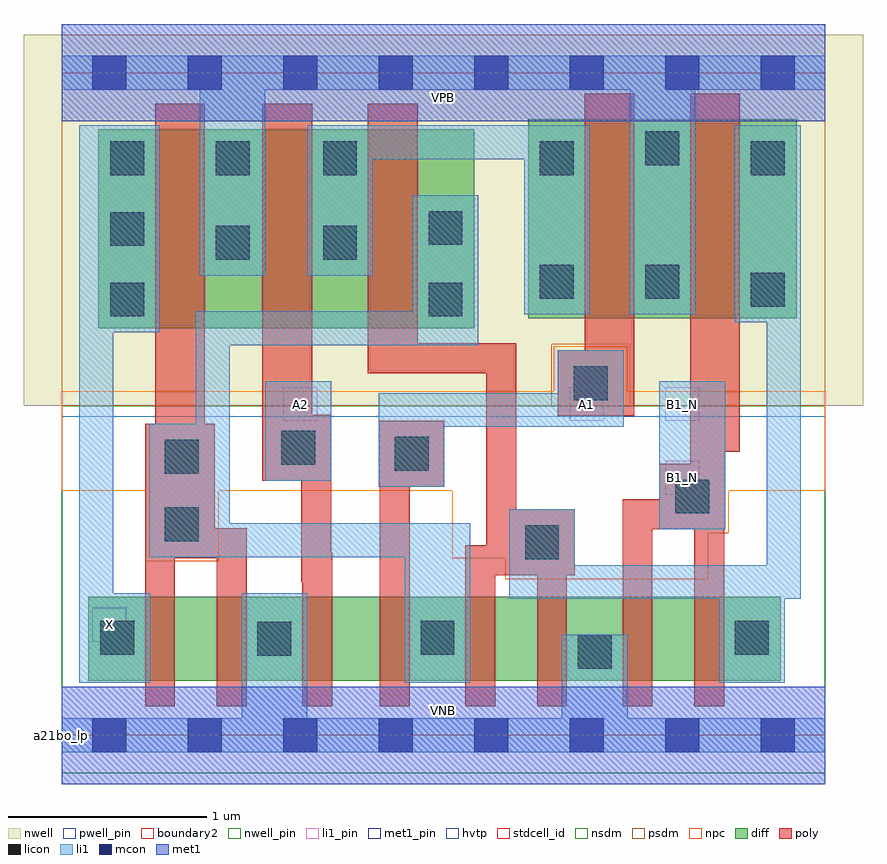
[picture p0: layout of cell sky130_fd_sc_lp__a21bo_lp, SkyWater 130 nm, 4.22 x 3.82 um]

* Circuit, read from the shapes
.subckt sky130_fd_sc_lp__a21bo_lp A1 A2 B1_N VGND VNB VPB VPWR X
XM1 n1 n2 X VNB sky130_fd_pr__nfet_01v8 w=0.42 l=0.15
XM2 VGND n2 n1 VNB sky130_fd_pr__nfet_01v8 w=0.42 l=0.15
XM3 n3 A2 VGND VNB sky130_fd_pr__nfet_01v8 w=0.42 l=0.15
XM4 n2 A1 n3 VNB sky130_fd_pr__nfet_01v8 w=0.42 l=0.15
XM5 n4 n5 n2 VNB sky130_fd_pr__nfet_01v8 w=0.42 l=0.15
XM6 VGND n5 n4 VNB sky130_fd_pr__nfet_01v8 w=0.42 l=0.15
XM7 n6 B1_N VGND VNB sky130_fd_pr__nfet_01v8 w=0.42 l=0.15
XM8 n5 B1_N n6 VNB sky130_fd_pr__nfet_01v8 w=0.42 l=0.15
XM9 VPWR n2 X VPB sky130_fd_pr__pfet_01v8_hvt w=1 l=0.25
XM10 n7 A2 VPWR VPB sky130_fd_pr__pfet_01v8_hvt w=1 l=0.25
XM11 n2 n5 n7 VPB sky130_fd_pr__pfet_01v8_hvt w=1 l=0.25
XM12 VPWR A1 n7 VPB sky130_fd_pr__pfet_01v8_hvt w=1 l=0.25
XM13 n5 B1_N VPWR VPB sky130_fd_pr__pfet_01v8_hvt w=1 l=0.25
.ends

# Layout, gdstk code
import gdstk
lib = gdstk.Library(unit=1e-6, precision=1e-09)
def R(c, l, rs):  # rectangles x0, y0, x1, y1
    for r in rs: c.add(gdstk.rectangle(r[:2], r[2:], *l))
def A(c, l, x, y, w, h, nx, ny, dx, dy):  # array of equal rectangles
    R(c, l, [(x+i*dx, y+j*dy, x+i*dx+w, y+j*dy+h) for i in range(nx) for j in range(ny)])
def P(c, l, *ps):  # polygons
    for p in ps: c.add(gdstk.Polygon(p, *l))
nwell_pin = (64, 16)
nwell = (64, 20)
diff = (65, 20)
poly = (66, 20)
licon = (66, 44)
li1_pin = (67, 16)
li1 = (67, 20)
mcon = (67, 44)
met1_pin = (68, 16)
met1 = (68, 20)
hvtp = (78, 44)
stdcell_id = (81, 4)
nsdm = (93, 44)
psdm = (94, 20)
npc = (95, 20)
pwell_pin = (122, 16)
boundary2 = (236, 0)

sky130_fd_sc_lp__a21bo_l = lib.new_cell('sky130_fd_sc_lp__a21bo_lp')
R(sky130_fd_sc_lp__a21bo_l, nwell_pin, [(0,3.085,3.84,3.33)])
R(sky130_fd_sc_lp__a21bo_l, nwell, [(-0.19,1.655,4.03,3.52)])
R(sky130_fd_sc_lp__a21bo_l, diff, [(0.135,0.275,3.615,0.695), (0.185,2.045,2.075,3.045), (2.345,2.095,3.695,3.095)])
P(sky130_fd_sc_lp__a21bo_l, poly, [(0.93,1.04),(0.77,1.04),(0.77,1.565),(0.72,1.565),(0.72,3.175),(0.47,3.175),(0.47,1.565),(0.42,1.565),(0.42,0.145),(0.57,0.145),(0.57,0.89),(0.78,0.89),(0.78,0.145),(0.93,0.145)],
  [(1.36,0.92),(1.355,0.92),(1.355,1.61),(1.26,1.61),(1.26,3.175),(1.01,3.175),(1.01,1.28),(1.205,1.28),(1.205,0.77),(1.21,0.77),(1.21,0.145),(1.36,0.145)],
  [(1.925,1.58),(1.595,1.58),(1.595,1.25),(1.6,1.25),(1.6,0.145),(1.75,0.145),(1.75,1.25),(1.925,1.25)],
  [(2.58,1.135),(2.285,1.135),(2.285,1.97),(1.79,1.97),(1.79,3.175),(1.54,3.175),(1.54,1.82),(2.135,1.82),(2.135,0.955),(2.03,0.955),(2.03,0.145),(2.18,0.145),(2.18,0.805),(2.39,0.805),(2.39,0.145),(2.54,0.145),(2.54,0.805),(2.58,0.805)],
  [(2.88,3.225),(2.63,3.225),(2.63,1.935),(2.495,1.935),(2.495,1.605),(2.88,1.605)],
  [(3.41,3.225),(3.16,3.225),(3.16,1.365),(3.005,1.365),(3.005,1.185),(2.82,1.185),(2.82,0.145),(2.97,0.145),(2.97,1.035),(3.18,1.035),(3.18,0.145),(3.33,0.145),(3.33,1.035),(3.335,1.035),(3.335,1.425),(3.41,1.425)])
A(sky130_fd_sc_lp__a21bo_l, licon, 0.245, 2.105, 0.17, 0.17, 1, 3, 0, 0.355)
R(sky130_fd_sc_lp__a21bo_l, licon, [(2.595,0.335,2.765,0.505), (0.985,0.4,1.155,0.57), (0.195,0.405,0.365,0.575), (1.805,0.405,1.975,0.575), (3.385,0.405,3.555,0.575), (2.33,0.885,2.5,1.055), (0.52,0.975,0.69,1.145), (3.085,1.115,3.255,1.285), (0.52,1.315,0.69,1.485), (1.675,1.33,1.845,1.5), (1.105,1.36,1.275,1.53), (2.575,1.685,2.745,1.855), (1.845,2.105,2.015,2.275), (3.465,2.155,3.635,2.325), (2.405,2.195,2.575,2.365), (2.935,2.195,3.105,2.365), (0.775,2.39,0.945,2.56), (1.315,2.39,1.485,2.56), (1.845,2.465,2.015,2.635), (0.775,2.815,0.945,2.985), (1.315,2.815,1.485,2.985), (2.405,2.815,2.575,2.985), (3.465,2.815,3.635,2.985), (2.935,2.865,3.105,3.035)])
R(sky130_fd_sc_lp__a21bo_l, li1_pin, [(0.155,0.47,0.325,0.64), (3.035,1.21,3.205,1.38), (1.115,1.58,1.285,1.75), (2.555,1.58,2.725,1.75), (3.035,1.58,3.205,1.75)])
R(sky130_fd_sc_lp__a21bo_l, li1, [(3.005,1.035,3.335,1.78), (1.025,1.28,1.355,1.78)])
P(sky130_fd_sc_lp__a21bo_l, li1, [(2.855,2.115),(2.855,3.245),(1.025,3.245),(1.025,2.31),(0.695,2.31),(0.695,3.245),(0,3.245),(0,3.415),(3.84,3.415),(3.84,3.245),(3.185,3.245),(3.185,2.115)],
  [(2.515,0.085),(2.515,0.505),(2.845,0.505),(2.845,0.085),(3.84,0.085),(3.84,-0.085),(0,-0.085),(0,0.085),(0.905,0.085),(0.905,0.715),(1.235,0.715),(1.235,0.085)],
  [(0.845,1.065),(2.055,1.065),(2.055,0.265),(1.725,0.265),(1.725,0.895),(0.44,0.895),(0.44,1.565),(0.675,1.565),(0.675,2.13),(1.765,2.13),(1.765,2.715),(2.095,2.715),(2.095,1.96),(0.845,1.96)],
  [(3.545,0.855),(3.545,2.075),(3.385,2.075),(3.385,3.065),(3.715,3.065),(3.715,0.685),(3.635,0.685),(3.635,0.265),(3.305,0.265),(3.305,0.685),(2.25,0.685),(2.25,1.135),(2.58,1.135),(2.58,0.855)],
  [(2.495,1.72),(2.495,1.935),(2.825,1.935),(2.825,1.55),(1.925,1.55),(1.925,1.25),(1.595,1.25),(1.595,1.72)],
  [(2.325,2.115),(2.325,2.895),(1.565,2.895),(1.565,2.31),(1.235,2.31),(1.235,3.065),(2.655,3.065),(2.655,2.115)],
  [(0.26,2.025),(0.26,0.715),(0.445,0.715),(0.445,0.265),(0.09,0.265),(0.09,3.065),(0.495,3.065),(0.495,2.025)])
A(sky130_fd_sc_lp__a21bo_l, mcon, 0.155, -0.085, 0.17, 0.17, 8, 2, 0.48, 3.33)
R(sky130_fd_sc_lp__a21bo_l, met1_pin, [(0,0,3.84,0.245), (0,3.085,3.84,3.33)])
R(sky130_fd_sc_lp__a21bo_l, met1, [(0,-0.245,3.84,0.245), (0,3.085,3.84,3.575)])
R(sky130_fd_sc_lp__a21bo_l, hvtp, [(0,1.6,3.84,3.33)])
R(sky130_fd_sc_lp__a21bo_l, stdcell_id, [(0,0,3.84,3.33)])
R(sky130_fd_sc_lp__a21bo_l, nsdm, [(0,-0.19,3.84,1.655)])
P(sky130_fd_sc_lp__a21bo_l, psdm, [(3.84,3.52),(0,3.52),(0,1.655),(2.465,1.655),(2.465,1.965),(2.855,1.965),(2.855,1.655),(3.84,1.655)])
P(sky130_fd_sc_lp__a21bo_l, npc, [(3.84,1.73),(2.845,1.73),(2.845,1.955),(2.475,1.955),(2.475,1.73),(0,1.73),(0,1.23),(0.42,1.23),(0.42,0.875),(0.79,0.875),(0.79,1.23),(1.965,1.23),(1.965,0.89),(2.23,0.89),(2.23,0.785),(3.25,0.785),(3.25,1.015),(3.355,1.015),(3.355,1.23),(3.84,1.23)])
R(sky130_fd_sc_lp__a21bo_l, pwell_pin, [(0,0,3.84,0.245)])
R(sky130_fd_sc_lp__a21bo_l, boundary2, [(0,0,3.84,3.33)])
sky130_fd_sc_lp__a21bo_l.add(gdstk.Label('VNB', (1.92,0.123), layer=64, texttype=59))
sky130_fd_sc_lp__a21bo_l.add(gdstk.Label('VPB', (1.92,3.208), layer=64, texttype=5))
sky130_fd_sc_lp__a21bo_l.add(gdstk.Label('a21bo_lp', (0,0), layer=83, texttype=44))
sky130_fd_sc_lp__a21bo_l.add(gdstk.Label('VPWR', (1.92,3.208), layer=68, texttype=5))
sky130_fd_sc_lp__a21bo_l.add(gdstk.Label('VGND', (1.92,0.123), layer=68, texttype=5))
sky130_fd_sc_lp__a21bo_l.add(gdstk.Label('B1_N', (3.12,1.295), layer=67, texttype=5))
sky130_fd_sc_lp__a21bo_l.add(gdstk.Label('B1_N', (3.12,1.665), layer=67, texttype=5))
sky130_fd_sc_lp__a21bo_l.add(gdstk.Label('A2', (1.2,1.665), layer=67, texttype=5))
sky130_fd_sc_lp__a21bo_l.add(gdstk.Label('A1', (2.64,1.665), layer=67, texttype=5))
sky130_fd_sc_lp__a21bo_l.add(gdstk.Label('X', (0.24,0.555), layer=67, texttype=5))

lib.write_gds('sky130_fd_sc_lp__a21bo_lp.gds')
